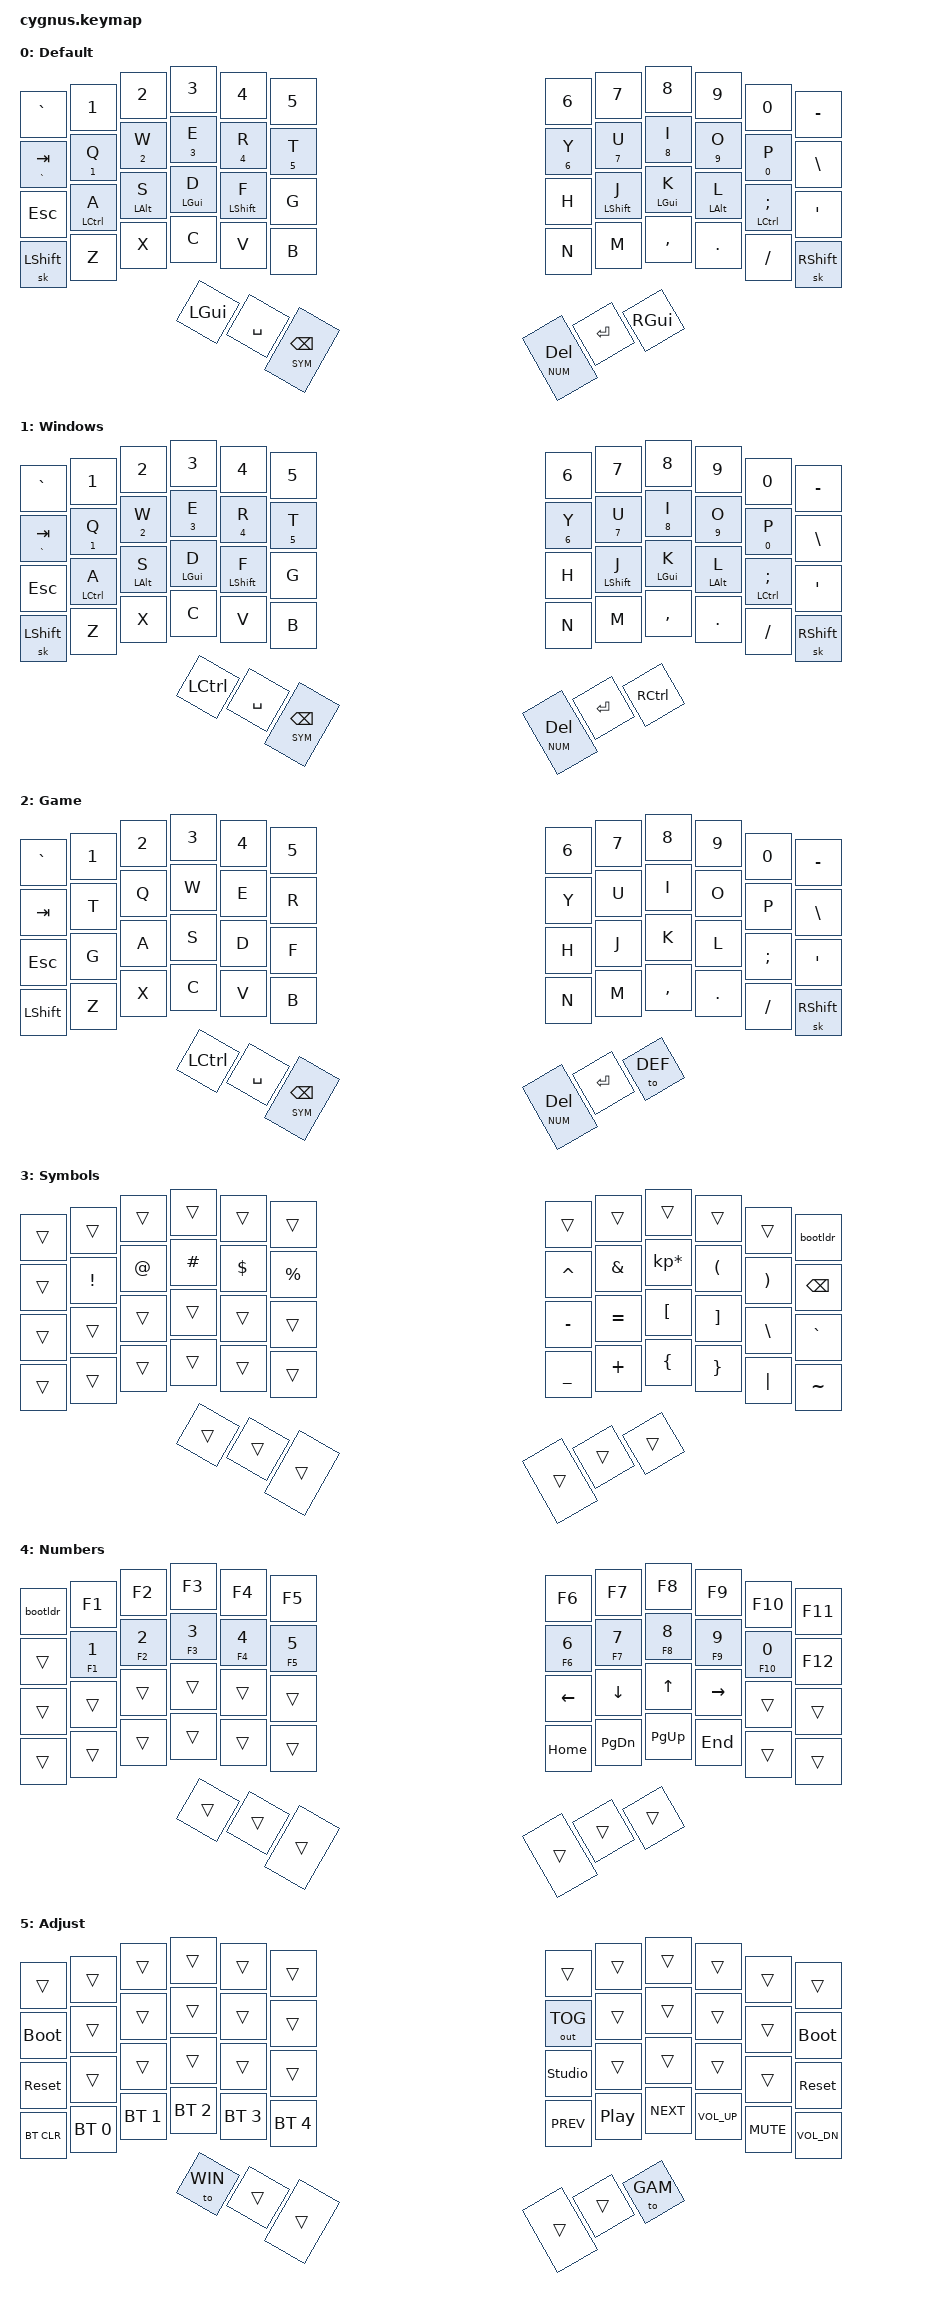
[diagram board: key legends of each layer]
#include <behaviors/studio_unlock.dtsi>
#include <behaviors.dtsi>
#include <dt-bindings/zmk/bt.h>
#include <dt-bindings/zmk/keys.h>
#include <dt-bindings/zmk/outputs.h>

#define DEF 0
#define WIN 1
#define GAM 2
#define SYM 3
#define NUM 4
#define ADJ 5
#define QUICK_TAP_MS 175
#define TAPPING_TERM_MS 200

&sk {
    release-after-ms = <600>;
    quick-release;
};

/ {
    conditional_layers {
        compatible = "zmk,conditional-layers";

        tri_layer {
            if-layers = <SYM NUM>;
            then-layer = <ADJ>;
        };
    };

    combos {
        compatible = "zmk,combos";

        caps {
            timeout-ms = <50>;
            key-positions = <36 47>;
            bindings = <&caps_word>;
        };

        caps2 {
            bindings = <&caps_word>;
            key-positions = <29 30>;
            layers = <0>;
            timeout-ms = <50>;
        };
    };

    behaviors {
        lq: layer_toggle_quick {
            compatible = "zmk,behavior-hold-tap";
            #binding-cells = <2>;
            flavor = "tap-preferred";
            tapping-term-ms = <TAPPING_TERM_MS>;
            quick-tap-ms = <QUICK_TAP_MS>;
            bindings = <&mo>, <&kp>;

            label = "Layer Toggle Quick";
        };

        ht: hold_tap {
            compatible = "zmk,behavior-hold-tap";
            #binding-cells = <2>;
            tapping-term-ms = <TAPPING_TERM_MS>;
            quick-tap-ms = <QUICK_TAP_MS>;
            flavor = "tap-preferred";
            bindings = <&kp>, <&kp>;

            label = "Hold Tap";
        };

        bootldr: bootldr {
            compatible = "zmk,behavior-tap-dance";
            label = "BOOTLDR";
            #binding-cells = <0>;
            tapping-term-ms = <200>;
            bindings = <&none>, <&bootloader>;
        };

        hml: home_row_mod_left {
            compatible = "zmk,behavior-hold-tap";
            label = "Home Row Mod Left";
            bindings = <&kp>, <&kp>;

            #binding-cells = <2>;
            tapping-term-ms = <280>;
            quick-tap-ms = <175>;
            require-prior-idle-ms = <50>;
            flavor = "balanced";
            hold-trigger-key-positions = <6 7 8 9 10 11 18 19 20 21 22 23 30 31 32 33 34 35 42 43 44 45 46 47 51 52 53>;
        };

        hmr: home_row_mod_right {
            compatible = "zmk,behavior-hold-tap";
            label = "Home Row Mod Right";
            bindings = <&kp>, <&kp>;

            #binding-cells = <2>;
            tapping-term-ms = <280>;
            quick-tap-ms = <185>;
            require-prior-idle-ms = <50>;
            flavor = "balanced";
            hold-trigger-key-positions = <0 1 5 12 13 14 15 16 17 24 25 26 27 28 29 36 37 38 39 40 41 48 49 50 2 3 4 5 14 15 16 17>;
        };

        htb: ht_balanced {
            compatible = "zmk,behavior-hold-tap";
            label = "Hold Tab Balanced";
            bindings = <&kp>, <&kp>;

            #binding-cells = <2>;
            tapping-term-ms = <200>;
            flavor = "balanced";
            quick-tap-ms = <175>;
        };
    };

    keymap {
        compatible = "zmk,keymap";

        default_layer {
            display-name = "Default";
            bindings = <
&kp GRAVE      &kp N1       &kp N2      &kp N3      &kp N4         &kp N5        &kp N6       &kp N7         &kp N8      &kp N9      &kp N0          &kp MINUS
&ht GRAVE TAB  &ht N1 Q     &ht N2 W    &ht N3 E    &ht N4 R       &ht N5 T      &ht N6 Y     &ht N7 U       &ht N8 I    &ht N9 O    &ht N0 P        &kp BSLH
&kp ESC        &ht LCTRL A  &ht LALT S  &ht LGUI D  &htb LSHIFT F  &kp G         &kp H        &htb LSHIFT J  &ht LGUI K  &ht LALT L  &ht LCTRL SEMI  &kp SQT
&sk LSHFT      &kp Z        &kp X       &kp C       &kp V          &kp B         &kp N        &kp M          &kp COMMA   &kp DOT     &kp FSLH        &sk RSHFT
                                        &kp LGUI    &kp SPACE      &lq SYM BSPC  &lq NUM DEL  &kp RET        &kp RGUI
            >;
        };

        windows_layer {
            display-name = "Windows";
            bindings = <
&kp GRAVE      &kp N1       &kp N2      &kp N3      &kp N4         &kp N5        &kp N6       &kp N7         &kp N8      &kp N9      &kp N0          &kp MINUS
&ht GRAVE TAB  &ht N1 Q     &ht N2 W    &ht N3 E    &ht N4 R       &ht N5 T      &ht N6 Y     &ht N7 U       &ht N8 I    &ht N9 O    &ht N0 P        &kp BSLH
&kp ESC        &ht LCTRL A  &ht LALT S  &ht LGUI D  &htb LSHIFT F  &kp G         &kp H        &htb LSHIFT J  &ht LGUI K  &ht LALT L  &ht LCTRL SEMI  &kp SQT
&sk LSHFT      &kp Z        &kp X       &kp C       &kp V          &kp B         &kp N        &kp M          &kp COMMA   &kp DOT     &kp FSLH        &sk RSHFT
                                        &kp LCTRL   &kp SPACE      &lq SYM BSPC  &lq NUM DEL  &kp RET        &kp RCTRL
            >;
        };

        game_layer {
            display-name = "Game";
            bindings = <
&kp GRAVE  &kp N1  &kp N2  &kp N3     &kp N4     &kp N5        &kp N6       &kp N7   &kp N8     &kp N9   &kp N0    &kp MINUS
&kp TAB    &kp T   &kp Q   &kp W      &kp E      &kp R         &kp Y        &kp U    &kp I      &kp O    &kp P     &kp BSLH
&kp ESC    &kp G   &kp A   &kp S      &kp D      &kp F         &kp H        &kp J    &kp K      &kp L    &kp SEMI  &kp SQT
&kp LSHFT  &kp Z   &kp X   &kp C      &kp V      &kp B         &kp N        &kp M    &kp COMMA  &kp DOT  &kp FSLH  &sk RSHFT
                           &kp LCTRL  &kp SPACE  &lq SYM BSPC  &lq NUM DEL  &kp RET  &to DEF
            >;
        };

        /*
        empty_layer {
            display-name = "Empty";
            bindings = <
&trans            &trans            &trans            &trans            &trans            &trans            &trans            &trans            &trans            &trans            &trans            &trans
&trans            &trans            &trans            &trans            &trans            &trans            &trans            &trans            &trans            &trans            &trans            &trans
&trans            &trans            &trans            &trans            &trans            &trans            &trans            &trans            &trans            &trans            &trans            &trans
&trans            &trans            &trans            &trans            &trans            &trans            &trans            &trans            &trans            &trans            &trans            &trans
                                                      &trans            &trans            &trans            &trans            &trans            &trans            
            >;
        };

      */
        //         nav_layer {
        //             display-name = "Nav";
        //             bindings = <
        // &trans            &trans            &trans            &trans            &trans            &trans            &trans            &trans            &trans            &trans            &trans            &trans
        // &trans            &trans            &trans            &trans            &trans            &trans            &trans            &trans            &trans            &trans            &trans            &trans
        // &trans            &kp LCTRL         &kp LALT          &kp LGUI          &kp LSHIFT        &trans            &kp LEFT          &kp DOWN          &kp UP            &kp RIGHT         &trans            &trans
        // &trans            &trans            &trans            &trans            &trans            &kp INS           &kp HOME          &kp PG_DN         &kp PG_UP         &kp END           &trans            &trans
        //                                                       &trans            &trans            &trans            &kp RET           &kp BSPC          &kp DEL            
        //             >;
        //         };
        //         sym_layer {
        //             display-name = "Symbols";
        //             bindings = <
        // &trans             &kp LBRC           &kp AMPS           &kp ASTRK          &kp LPAR           &kp RBRC           &trans          &trans               &trans             &trans      &trans      &trans
        // &trans             &kp COLON          &kp DLLR           &kp PRCNT          &kp CARET          &kp PLUS           &trans          &trans               &trans             &trans      &trans      &trans     
        // &trans             &kp EXCL           &kp AT             &kp HASH           &kp PIPE           &kp EQUAL          &trans          &kp LSHFT            &kp LGUI           &kp LALT    &kp LCTRL   &trans
        // &trans             &kp TILDE          &kp EXCL           &kp AT             &kp HASH           &kp PIPE           &trans          &trans               &trans             &trans      &trans      &trans
        //                                                          &kp LPAR           &kp RPAR           &kp UNDER          &trans          &trans               &trans                                    
        //             >;
        //         };
        //         num_layer {
        //             display-name = "Numbers";
        //             bindings = <
        // &trans             &kp F1             &kp F2             &kp F3             &kp F4             &kp F5          &kp F6       &kp F7               &kp F8             &kp F9      &kp F10     &trans
        // &trans             &kp LBKT           &kp N7             &kp N8             &kp N9             &kp RBKT        &trans       &trans               &trans             &trans      &trans      &trans 
        // &trans             &kp SEMI           &kp N4             &kp N5             &kp N6             &kp EQUAL       &trans       &kp LSHFT            &kp LGUI           &kp LALT    &kp LCTRL   &trans
        // &trans             &kp GRAVE          &kp N1             &kp N2             &kp N3             &kp BSLH        &trans       &trans               &trans             &trans      &trans      &trans
        //                                                          &trans             &kp N0             &kp MINUS       &trans       &trans               &trans
        //             >;
        //         };

        sym_layer {
            display-name = "Symbols";
            bindings = <
&trans  &trans    &trans  &trans    &trans    &trans     &trans     &trans     &trans           &trans    &trans    &bootldr
&trans  &kp EXCL  &kp AT  &kp HASH  &kp DLLR  &kp PRCNT  &kp CARET  &kp AMPS   &kp KP_MULTIPLY  &kp LPAR  &kp RPAR  &kp BSPC
&trans  &trans    &trans  &trans    &trans    &trans     &kp MINUS  &kp EQUAL  &kp LBKT         &kp RBKT  &kp BSLH  &kp GRAVE
&trans  &trans    &trans  &trans    &trans    &trans     &kp UNDER  &kp PLUS   &kp LBRC         &kp RBRC  &kp PIPE  &kp TILDE
                          &trans    &trans    &trans     &trans     &trans     &trans
            >;
        };

        num_layer {
            display-name = "Numbers";
            bindings = <
&bootldr  &kp F1     &kp F2     &kp F3     &kp F4     &kp F5     &kp F6     &kp F7     &kp F8     &kp F9     &kp F10     &kp F11
&trans    &ht F1 N1  &ht F2 N2  &ht F3 N3  &ht F4 N4  &ht F5 N5  &ht F6 N6  &ht F7 N7  &ht F8 N8  &ht F9 N9  &ht F10 N0  &kp F12
&trans    &trans     &trans     &trans     &trans     &trans     &kp LEFT   &kp DOWN   &kp UP     &kp RIGHT  &trans      &trans
&trans    &trans     &trans     &trans     &trans     &trans     &kp HOME   &kp PG_DN  &kp PG_UP  &kp END    &trans      &trans
                                &trans     &trans     &trans     &trans     &trans     &trans
            >;
        };

        adj_layer {
            display-name = "Adjust";
            bindings = <
&trans       &trans        &trans        &trans        &trans        &trans        &trans          &trans    &trans      &trans        &trans      &trans
&bootloader  &trans        &trans        &trans        &trans        &trans        &out OUT_TOG    &trans    &trans      &trans        &trans      &bootloader
&sys_reset   &trans        &trans        &trans        &trans        &trans        &studio_unlock  &trans    &trans      &trans        &trans      &sys_reset
&bt BT_CLR   &bt BT_SEL 0  &bt BT_SEL 1  &bt BT_SEL 2  &bt BT_SEL 3  &bt BT_SEL 4  &kp C_PREV      &kp C_PP  &kp C_NEXT  &kp C_VOL_UP  &kp C_MUTE  &kp C_VOL_DN
                                         &to WIN       &trans        &trans        &trans          &trans    &to GAM
            >;
        };
    };
};
